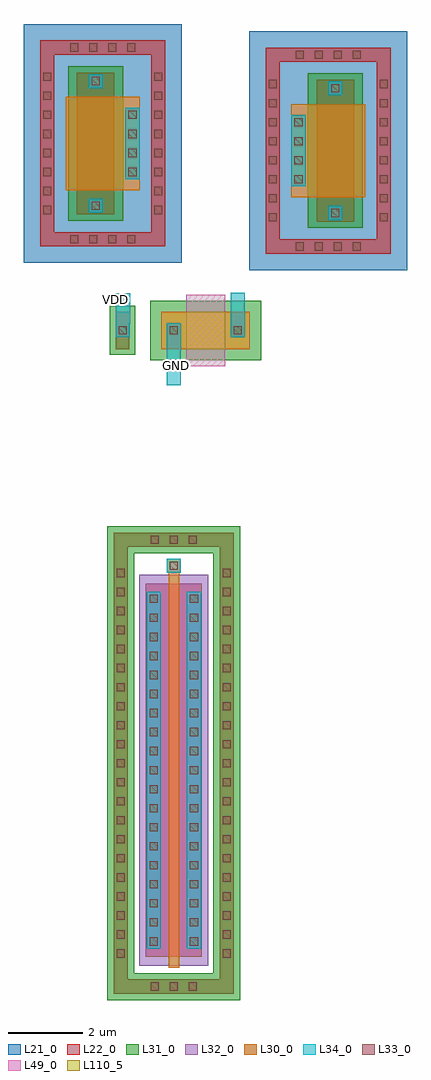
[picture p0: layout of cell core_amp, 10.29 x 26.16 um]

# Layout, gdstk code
from math import pi, radians
import gdstk
lib = gdstk.Library(unit=1e-6, precision=5e-09)
def R(c, l, rs):  # rectangles x0, y0, x1, y1
    for r in rs: c.add(gdstk.rectangle(r[:2], r[2:], *l))
def A(c, l, x, y, w, h, nx, ny, dx, dy):  # array of equal rectangles
    R(c, l, [(x+i*dx, y+j*dy, x+i*dx+w, y+j*dy+h) for i in range(nx) for j in range(ny)])
def P(c, l, *ps):  # polygons
    for p in ps: c.add(gdstk.Polygon(p, *l))
L21_0 = (21, 0)
L22_0 = (22, 0)
L30_0 = (30, 0)
L31_0 = (31, 0)
L32_0 = (32, 0)
L33_0 = (33, 0)
L34_0 = (34, 0)
L49_0 = (49, 0)
L110_5 = (110, 5)

nfet = lib.new_cell('nfet')
R(nfet, L22_0, [(-0.42,0,0,10), (0,0,0.66,10), (0.66,0,1.08,10)])
P(nfet, L22_0, [(-1.28,-0.99),(-1.28,10.98),(-0.9,10.98),(-0.9,-0.61),(1.56,-0.61),(1.56,10.98),(-1.28,10.98),(-1.28,11.36),(1.94,11.36),(1.94,-0.99)])
R(nfet, L30_0, [(0.19,-0.3,0.47,10.3), (0.15,10.3,0.51,10.66)])
P(nfet, L31_0, [(-1.45,-1.16),(-1.45,10.81),(-0.73,10.81),(-0.73,-0.44),(1.39,-0.44),(1.39,10.81),(-1.45,10.81),(-1.45,11.53),(2.11,11.53),(2.11,-1.16)])
R(nfet, L32_0, [(-0.59,-0.24,1.25,10.24)])
A(nfet, L33_0, -0.29, -0.91, 0.22, 0.22, 3, 2, 0.51, 11.97)
A(nfet, L33_0, -1.2, -0.025, 0.22, 0.22, 1, 21, 0, 0.51)
A(nfet, L33_0, 1.64, -0.025, 0.22, 0.22, 1, 21, 0, 0.51)
A(nfet, L33_0, -0.32, 0.3, 0.22, 0.22, 1, 19, 0, 0.51)
A(nfet, L33_0, 0.76, 0.3, 0.22, 0.22, 1, 19, 0, 0.51)
R(nfet, L33_0, [(0.22,10.37,0.44,10.59)])
R(nfet, L34_0, [(-0.4,0.22,-0.02,9.78), (0.68,0.22,1.06,9.78), (0.14,10.29,0.52,10.67)])
nfet.add(gdstk.Label('G', (0.33,10.48), layer=34, texttype=10))
nfet.add(gdstk.Label('B', (-0.92,5.185), layer=34, texttype=10))

pfet = lib.new_cell('pfet')
R(pfet, L21_0, [(-1.76,-1.43,4.64,2.81)])
R(pfet, L22_0, [(-0.46,0,0,1), (0,0,2.88,1), (2.88,0,3.34,1)])
P(pfet, L22_0, [(-1.32,-0.99),(-1.32,1.99),(-0.94,1.99),(-0.94,-0.61),(3.82,-0.61),(3.82,1.99),(-1.32,1.99),(-1.32,2.37),(4.2,2.37),(4.2,-0.99)])
R(pfet, L30_0, [(0.19,-0.3,2.69,1.3), (0.19,1.3,2.69,1.68)])
R(pfet, L31_0, [(-0.63,-0.24,3.51,1.24)])
A(pfet, L33_0, -0.455, -0.91, 0.22, 0.22, 8, 2, 0.51, 2.98)
A(pfet, L33_0, -1.24, -0.185, 0.22, 0.22, 1, 4, 0, 0.51)
A(pfet, L33_0, 3.9, -0.185, 0.22, 0.22, 1, 4, 0, 0.51)
A(pfet, L33_0, 0.565, 1.38, 0.22, 0.22, 4, 1, 0.51, 0)
R(pfet, L33_0, [(-0.34,0.39,-0.12,0.61), (3,0.39,3.22,0.61)])
R(pfet, L34_0, [(-0.42,0.31,-0.04,0.69), (2.92,0.31,3.3,0.69), (0.485,1.3,2.395,1.68)])

ppolyf_u_resistor = lib.new_cell('ppolyf_u_resistor')
R(ppolyf_u_resistor, L22_0, [(-1.88,0,-1.52,1)])
R(ppolyf_u_resistor, L30_0, [(-0.66,0,1.71,1)])
R(ppolyf_u_resistor, L31_0, [(-0.96,-0.3,2.01,1.3), (-2.04,-0.16,-1.36,1.16)])
R(ppolyf_u_resistor, L33_0, [(-1.81,0.39,-1.59,0.61), (-0.44,0.39,-0.22,0.61), (1.27,0.39,1.49,0.61)])
R(ppolyf_u_resistor, L34_0, [(-1.89,0.31,-1.51,0.69), (-0.52,0.31,-0.14,0.69), (1.19,0.31,1.57,0.69)])
R(ppolyf_u_resistor, L49_0, [(0,-0.455,1.05,1.455)])
R(ppolyf_u_resistor, L110_5, [(0,0,1.05,1)])

core_amp = lib.new_cell('core_amp')
R(core_amp, L34_0, [(2.055,12.5,2.435,13.775), (0.695,14.155,1.075,14.965), (3.765,14.155,4.145,14.975)])
core_amp.add(gdstk.Reference(nfet, (1.915,-2.82)))
r = gdstk.Reference(pfet, (-0.35,20.415), rotation=3*pi/2); r.repetition = gdstk.Repetition(1, 1, v1=(0,0), v2=(0,0)); core_amp.add(r)
r = gdstk.Reference(pfet, (7.075,17.34), rotation=pi/2); r.repetition = gdstk.Repetition(1, 1, v1=(0,0), v2=(0,0)); core_amp.add(r)
r = gdstk.Reference(ppolyf_u_resistor, (2.575,13.465)); r.repetition = gdstk.Repetition(1, 1, v1=(0,0), v2=(0,0)); core_amp.add(r)
core_amp.add(gdstk.Label('VDD', (0.675,14.785), layer=34, texttype=10))
core_amp.add(gdstk.Label('GND', (2.325,13.035), layer=34, texttype=10))

lib.write_gds('core_amp.gds')
